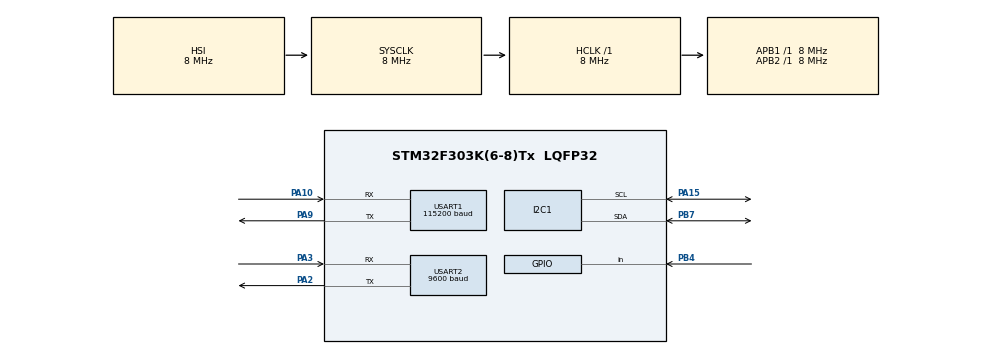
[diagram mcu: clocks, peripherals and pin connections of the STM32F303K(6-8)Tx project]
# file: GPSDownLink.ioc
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Mcu.Family=STM32F3
Mcu.Name=STM32F303K(6-8)Tx
Mcu.Package=LQFP32
NVIC.PriorityGroup=NVIC_PRIORITYGROUP_4
NVIC.USART1_IRQn=true\:0\:0\:false\:false\:true\:true\:true
NVIC.USART2_IRQn=true\:0\:0\:false\:false\:true\:true\:true
PA0.Mode=SYS_WakeUp0
PA0.Signal=SYS_WKUP1
PA10.Mode=Asynchronous
PA10.Signal=USART1_RX
PA13.Mode=Trace_Asynchronous_SW
PA13.Signal=SYS_JTMS-SWDIO
PA14.Mode=Trace_Asynchronous_SW
PA14.Signal=SYS_JTCK-SWCLK
PA15.Mode=I2C
PA15.Signal=I2C1_SCL
PA2.Mode=Asynchronous
PA2.Signal=USART2_TX
PA3.Mode=Asynchronous
PA3.Signal=USART2_RX
PA9.Mode=Asynchronous
PA9.Signal=USART1_TX
PB3.Mode=Trace_Asynchronous_SW
PB3.Signal=SYS_JTDO-TRACESWO
PB4.Signal=GPIO_Input
PB7.Mode=I2C
PB7.Signal=I2C1_SDA
ProjectManager.HeapSize=0x200
ProjectManager.StackSize=0x400
ProjectManager.TargetToolchain=STM32CubeIDE
RCC.AHBFreq_Value=8000000
RCC.APB1Freq_Value=8000000
RCC.APB2Freq_Value=8000000
RCC.CortexFreq_Value=8000000
RCC.HSE_VALUE=8000000
RCC.HSI_VALUE=8000000
RCC.SYSCLKFreq_VALUE=8000000
USART1.BaudRate=115200
USART1.VirtualMode-Asynchronous=VM_ASYNC
USART2.BaudRate=9600
USART2.VirtualMode-Asynchronous=VM_ASYNC
board=custom

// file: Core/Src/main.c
/* USER CODE BEGIN Header */
/**
 ******************************************************************************
 * @file           : main.c
 * @brief          : Main program body
 ******************************************************************************
 * @attention
 *
 * Copyright (c) 2023 STMicroelectronics.
 * All rights reserved.
 *
 * This software is licensed under terms that can be found in the LICENSE file
 * in the root directory of this software component.
 * If no LICENSE file comes with this software, it is provided AS-IS.
 *
 ******************************************************************************
 */
/* USER CODE END Header */
#include "main.h"

/* USER CODE BEGIN Includes */
#include "stdio.h"
#include "string.h"
#include "stdlib.h"
#include "stdint.h"
#include <math.h>
#include <bmp085.h>
/* USER CODE END Includes */

I2C_HandleTypeDef hi2c1;

UART_HandleTypeDef huart1;
UART_HandleTypeDef huart2;

void SystemClock_Config(void);
static void MX_GPIO_Init(void);
static void MX_USART1_UART_Init(void);
static void MX_USART2_UART_Init(void);
static void MX_I2C1_Init(void);
/* USER CODE BEGIN PFP */
float extractFloat(const char *str);
void getLatitudeLongitude(uint8_t *data, float *latitude, float *longitude);
/* USER CODE END PFP */

/* USER CODE BEGIN 0 */

//GPS parameter settings
#define BUFF_SIZE   (200)
#define CHAR_CR     (0x0d)
#define TRUE        (1)
#define FALSE       (0)

uint8_t flagRcved; /* receive finish flag */
uint16_t rcvLength; /* receive data number */
uint8_t rcvBuffer[BUFF_SIZE]; /* receive buffer */
char sndBuffer[BUFF_SIZE]; /* transmit buffer */

//RM92A parameters
#define MAX_DIGITS_INT 11 // Max digits in a 32-bit integer, including sign
#define MAX_DIGITS_FLOAT 10 // Max digits in a typical float
#define CHAR_CR     (0x0d)
#define SAMPLENUM 50
#define MAX_LAT_LONG_STRING_SIZE 10

//GPS parameters
int isPosUpdated = 0;
double longtitude, latitude;
double time, gpsAltitude, times;
double Minutes;

//RM92A parameters
int sendCount = 0;
char transmitBuffer[MAX_LAT_LONG_STRING_SIZE];

//BMP
double SEALEVEL_ALTITUDE = 0;
double altitude = 0;
double filteredAltitude = 0;
double maxAltitude = -1000;
double altitudeArray[SAMPLENUM];

//BMX
float gyro[3] = {0, 0, 0};

int fpState = 1; //flightPin state
int mode = 0;

void wirelessSend(char *str, float value);
int processGPSdata(char *rawData);

void initializeAltitudeArray(double _altitude);

void initializeAltitudeArray(double _altitude);
double getRawAltitude();
double getFilteredAltitude(double rawAltitude);

double calcMedian(void *array, int n, int type);

void HAL_UART_RxCpltCallback(UART_HandleTypeDef *huart) {
	flagRcved = TRUE; /* receive finish flag callback */
}
/* USER CODE END 0 */

int main(void) {

	/* MCU Configuration--------------------------------------------------------*/

	/* Reset of all peripherals, Initializes the Flash interface and the Systick. */
	HAL_Init();

	/* USER CODE BEGIN Init */
	longtitude = -1.0;
	latitude = -1.0;
	gpsAltitude = -1.0;
	times = -1.0;
	Minutes = -1.0;
	/* USER CODE END Init */

	/* Configure the system clock */
	SystemClock_Config();

	/* Initialize all configured peripherals */
	MX_GPIO_Init();
	MX_USART1_UART_Init();
	MX_USART2_UART_Init();
	MX_I2C1_Init();
	/* USER CODE BEGIN 2 */
	HAL_Delay(10);
	int initBMP180 = bmpBegin(1, &hi2c1);

	if (initBMP180 == 1) {
		printf("successfully initialized BMP180\n");
		HAL_Delay(20);
		initializeAltitudeArray(getRawAltitude());
		SEALEVEL_ALTITUDE = getFilteredAltitude(getRawAltitude());
		initializeAltitudeArray(getRawAltitude() - SEALEVEL_ALTITUDE);
	} else {
		printf("initializing BMP180 failed\n");
	}
	/* USER CODE END 2 */

	/* Infinite loop */
	/* USER CODE BEGIN WHILE */

	/*
	 while (1) {
	 char samples[] = "test";
	 float sam = 2.00;
	 wirelessSend(samples, sam);
	 }
	 */

	while (1) {
		/* USER CODE END WHILE */

		/* USER CODE BEGIN 3 */
		isPosUpdated = 0;

		do {
			/* interrupt start */
			HAL_UART_Receive_IT(&huart2, rcvBuffer, 1);

			/* wait for interrupt */
			while (flagRcved == FALSE) {
				;
			}

			sndBuffer[rcvLength] = rcvBuffer[0];
			rcvLength++;
			flagRcved = FALSE;
		} while ((rcvBuffer[0] != CHAR_CR) && (rcvLength < BUFF_SIZE));

		rcvLength = 0;

		//__HAL_UART_DISABLE_IT(&huart2, UART_IT_RXNE);
		isPosUpdated = processGPSdata(sndBuffer);

		if (initBMP180) {
			altitude = getRawAltitude() - SEALEVEL_ALTITUDE;
			filteredAltitude = getFilteredAltitude(altitude);

			if (filteredAltitude > maxAltitude) {
				maxAltitude = filteredAltitude;
			}
			//printf("rawAltiude= %f, fileteredAltitude = %f, maxAltitude = %f\n", altitude, filteredAltitude, maxAltitude);
		}

		if (isPosUpdated) { //Send wireless transmission when there is no location information
			switch (sendCount) {
			case 0:
				wirelessSend("m", mode);
				break;
			case 1:
				wirelessSend("alt", altitude);
				break;
			case 2:
				wirelessSend("lat", latitude);
				break;
			case 3:
				wirelessSend("lng", longtitude);
				break;
			case 4:
				wirelessSend("gx", gyro[0]);
				break;
			case 5:
				wirelessSend("gy", gyro[1]);
				break;
			case 6:
				wirelessSend("gz", gyro[2]);
				sendCount = 0;
				break;
			}
		}
	}

	/* USER CODE END 3 */
}

void SystemClock_Config(void) {
	RCC_OscInitTypeDef RCC_OscInitStruct = { 0 };
	RCC_ClkInitTypeDef RCC_ClkInitStruct = { 0 };
	RCC_PeriphCLKInitTypeDef PeriphClkInit = { 0 };

	/** Initializes the RCC Oscillators according to the specified parameters
	 * in the RCC_OscInitTypeDef structure.
	 */
	RCC_OscInitStruct.OscillatorType = RCC_OSCILLATORTYPE_HSI;
	RCC_OscInitStruct.HSIState = RCC_HSI_ON;
	RCC_OscInitStruct.HSICalibrationValue = RCC_HSICALIBRATION_DEFAULT;
	RCC_OscInitStruct.PLL.PLLState = RCC_PLL_NONE;
	if (HAL_RCC_OscConfig(&RCC_OscInitStruct) != HAL_OK) {
		Error_Handler();
	}
	/** Initializes the CPU, AHB and APB buses clocks
	 */
	RCC_ClkInitStruct.ClockType = RCC_CLOCKTYPE_HCLK | RCC_CLOCKTYPE_SYSCLK
			| RCC_CLOCKTYPE_PCLK1 | RCC_CLOCKTYPE_PCLK2;
	RCC_ClkInitStruct.SYSCLKSource = RCC_SYSCLKSOURCE_HSI;
	RCC_ClkInitStruct.AHBCLKDivider = RCC_SYSCLK_DIV1;
	RCC_ClkInitStruct.APB1CLKDivider = RCC_HCLK_DIV1;
	RCC_ClkInitStruct.APB2CLKDivider = RCC_HCLK_DIV1;

	if (HAL_RCC_ClockConfig(&RCC_ClkInitStruct, FLASH_LATENCY_0) != HAL_OK) {
		Error_Handler();
	}
	PeriphClkInit.PeriphClockSelection = RCC_PERIPHCLK_USART1
			| RCC_PERIPHCLK_I2C1;
	PeriphClkInit.Usart1ClockSelection = RCC_USART1CLKSOURCE_PCLK1;
	PeriphClkInit.I2c1ClockSelection = RCC_I2C1CLKSOURCE_HSI;
	if (HAL_RCCEx_PeriphCLKConfig(&PeriphClkInit) != HAL_OK) {
		Error_Handler();
	}
}

static void MX_I2C1_Init(void) {

	hi2c1.Instance = I2C1;
	hi2c1.Init.Timing = 0x2000090E;
	hi2c1.Init.OwnAddress1 = 0;
	hi2c1.Init.AddressingMode = I2C_ADDRESSINGMODE_7BIT;
	hi2c1.Init.DualAddressMode = I2C_DUALADDRESS_DISABLE;
	hi2c1.Init.OwnAddress2 = 0;
	hi2c1.Init.OwnAddress2Masks = I2C_OA2_NOMASK;
	hi2c1.Init.GeneralCallMode = I2C_GENERALCALL_DISABLE;
	hi2c1.Init.NoStretchMode = I2C_NOSTRETCH_DISABLE;
	if (HAL_I2C_Init(&hi2c1) != HAL_OK) {
		Error_Handler();
	}
	/** Configure Analogue filter
	 */
	if (HAL_I2CEx_ConfigAnalogFilter(&hi2c1, I2C_ANALOGFILTER_ENABLE)
			!= HAL_OK) {
		Error_Handler();
	}
	/** Configure Digital filter
	 */
	if (HAL_I2CEx_ConfigDigitalFilter(&hi2c1, 0) != HAL_OK) {
		Error_Handler();
	}

}

static void MX_USART1_UART_Init(void) {

	huart1.Instance = USART1;
	huart1.Init.BaudRate = 115200;
	huart1.Init.WordLength = UART_WORDLENGTH_8B;
	huart1.Init.StopBits = UART_STOPBITS_1;
	huart1.Init.Parity = UART_PARITY_NONE;
	huart1.Init.Mode = UART_MODE_TX_RX;
	huart1.Init.HwFlowCtl = UART_HWCONTROL_NONE;
	huart1.Init.OverSampling = UART_OVERSAMPLING_16;
	huart1.Init.OneBitSampling = UART_ONE_BIT_SAMPLE_DISABLE;
	huart1.AdvancedInit.AdvFeatureInit = UART_ADVFEATURE_NO_INIT;
	if (HAL_UART_Init(&huart1) != HAL_OK) {
		Error_Handler();
	}

}

static void MX_USART2_UART_Init(void) {

	huart2.Instance = USART2;
	huart2.Init.BaudRate = 9600;
	huart2.Init.WordLength = UART_WORDLENGTH_8B;
	huart2.Init.StopBits = UART_STOPBITS_1;
	huart2.Init.Parity = UART_PARITY_NONE;
	huart2.Init.Mode = UART_MODE_TX_RX;
	huart2.Init.HwFlowCtl = UART_HWCONTROL_NONE;
	huart2.Init.OverSampling = UART_OVERSAMPLING_16;
	huart2.Init.OneBitSampling = UART_ONE_BIT_SAMPLE_DISABLE;
	huart2.AdvancedInit.AdvFeatureInit = UART_ADVFEATURE_NO_INIT;
	if (HAL_UART_Init(&huart2) != HAL_OK) {
		Error_Handler();
	}

}

static void MX_GPIO_Init(void) {
	GPIO_InitTypeDef GPIO_InitStruct = { 0 };

	/* GPIO Ports Clock Enable */
	__HAL_RCC_GPIOA_CLK_ENABLE();
	__HAL_RCC_GPIOB_CLK_ENABLE();

	/*Configure GPIO pin : PB4 */
	GPIO_InitStruct.Pin = GPIO_PIN_4;
	GPIO_InitStruct.Mode = GPIO_MODE_INPUT;
	GPIO_InitStruct.Pull = GPIO_NOPULL;
	HAL_GPIO_Init(GPIOB, &GPIO_InitStruct);

}

/* USER CODE BEGIN 4 */
int _write(int file, char *ptr, int len) {
	int DataIdx;
	for (DataIdx = 0; DataIdx < len; DataIdx++) {
		ITM_SendChar(*ptr++);
	}
	return len;
}

float extractFloat(const char *str) {
	return atof(str);
}

int processGPSdata(char *rawData) {
	if (rawData[1] == '$') { // Determine if the information received is from GPS
		const char delimeter[] = ",";
		char *token = strtok(rawData, delimeter);
		char *dataIdentifier = "\n$GPGGA";

		uint8_t processOrder = 0;

		while (token != NULL) { // Process data until all tokens are processed

			if (processOrder == 0) { // Check the prefix
				if (strcmp(token, dataIdentifier) != 0) { // If the prefix is not 'GPGGA'
					return 0;
				}
			}

			processOrder++;
			token = strtok(NULL, delimeter); // Split data by comma

			switch (processOrder) {
			case 1:
				time = strtod(token, NULL) + 9000.0;
				break;
			case 2:
				Minutes = modf(strtod(token, NULL) / 100.0, &latitude);
				latitude = latitude + Minutes * 10.0 / 6.0;
				//printf("lat = %f\n", latitude);
				break;
			case 3:
				if (strcmp(token, "S") == 0) {
					latitude = latitude * -1.0;
				}
				break;
			case 4:
				Minutes = modf(strtod(token, NULL) / 100.0, &longtitude);
				longtitude = longtitude + Minutes * 10.0 / 6.0;
				//printf("log = %f\n", longtitude);
				break;
			case 5:
				if (strcmp(token, "W") == 0) {
					longtitude = longtitude * -1.0;
				}
				break;
			case 9:
				gpsAltitude = strtof(token, NULL);
				break;
			case 10:
				if (strcmp(token, "M") != 0) {
					altitude = altitude * -1.0;
				}
				break;
			}

			return 1;
		}
	}

	return 0;
}

void wirelessSend(char *str, float value) {
	char transmitBuffer[MAX_LAT_LONG_STRING_SIZE];

	HAL_UART_Transmit(&huart1, (uint8_t*) str, strlen(str), 3000);
	snprintf(transmitBuffer, sizeof(transmitBuffer), "%f", value);

	HAL_UART_Transmit(&huart1, (uint8_t*) transmitBuffer,
			strlen(transmitBuffer), 3000);
}

void initializeAltitudeArray(double _altitude) {
	for (int i = 0; i < SAMPLENUM; i++) {
		altitudeArray[i] = _altitude;
	}
}

double getRawAltitude() {
	double pressure = readBMPPressure();
	double temperature = readBMPTemperature();
	double _altitude = calculateAltitude(pressure, temperature);

	return _altitude;
}

double getFilteredAltitude(double rawAltitude) {
	altitudeArray[0] = rawAltitude;

	for (int i = (SAMPLENUM - 1); i > 0; i--) {
		altitudeArray[i] = altitudeArray[i - 1];
	}

	double filteredAltitude = calcMedian(altitudeArray, SAMPLENUM, 1);

	return filteredAltitude;
}

double calcMedian(void *array, int n, int type) {
	if (type == 0) { // If data type is int
		int *intArray = (int*) array;

		for (int i = 0; i < n; i++) {
			for (int j = i + 1; j < n; j++) {
				if (intArray[i] > intArray[j]) {
					int changer = intArray[j];
					intArray[j] = intArray[i];
					intArray[i] = changer;
				}
			}
		}

		if (n % 2 == 0) {
			return (double) (intArray[n / 2] + intArray[n / 2 - 1]) / 2;
		} else {
			return (double) intArray[n / 2];
		}
	} else if (type == 1) { // If data type is float
		double *doubleArray = (double*) array;

		for (int i = 0; i < n; i++) {
			for (int j = i + 1; j < n; j++) {
				if (doubleArray[i] > doubleArray[j]) {
					float changer = doubleArray[j];
					doubleArray[j] = doubleArray[i];
					doubleArray[i] = changer;
				}
			}
		}

		if (n % 2 == 0) {
			return (doubleArray[n / 2] + doubleArray[n / 2 - 1]) / 2;
		} else {
			return doubleArray[n / 2];
		}
	} else {
		// Error or unknown data type
		return 0.0;
	}
}
/* USER CODE END 4 */

void Error_Handler(void) {
	__disable_irq();
	while (1) {
	}
}
